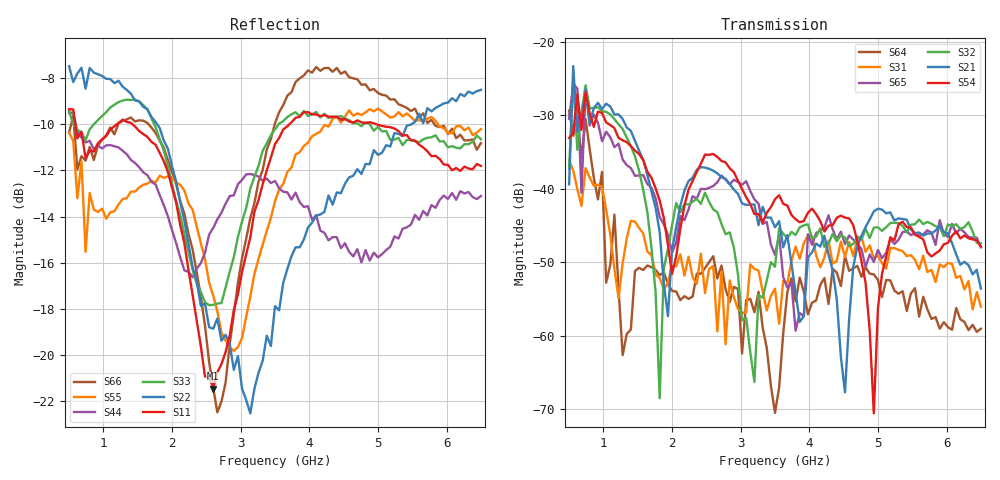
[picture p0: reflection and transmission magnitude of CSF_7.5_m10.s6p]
!Keysight Technologies,M9804A,MY58100912,A.14.10.03
!Date: Thursday, April 27, 2023 10:28:33
!Correction: S11(C  6-Port  )
!S12(C  6-Port  )
!S13(C  6-Port  )
!S14(C  6-Port  )
!S15(C  6-Port  )
!S16(C  6-Port  )
!S21(C  6-Port  )
!S22(C  6-Port  )
!S23(C  6-Port  )
!S24(C  6-Port  )
!S25(C  6-Port  )
!S26(C  6-Port  )
!S31(C  6-Port  )
!S32(C  6-Port  )
!S33(C  6-Port  )
!S34(C  6-Port  )
!S35(C  6-Port  )
!S36(C  6-Port  )
!S41(C  6-Port  )
!S42(C  6-Port  )
!S43(C  6-Port  )
!S44(C  6-Port  )
!S45(C  6-Port  )
!S46(C  6-Port  )
!S51(C  6-Port  )
!S52(C  6-Port  )
!S53(C  6-Port  )
!S54(C  6-Port  )
!S55(C  6-Port  )
!S56(C  6-Port  )
!S61(C  6-Port  )
!S62(C  6-Port  )
!S63(C  6-Port  )
!S64(C  6-Port  )
!S65(C  6-Port  )
!S66(C  6-Port  )
!S6P File: Measurement: :
# Hz S  RI  R 50
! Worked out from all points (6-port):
!   101 points, 500 MHz to 6.5 GHz, reference 50 ohm
!   strongest paths, dB at 500 MHz, 2 GHz, 3.5 GHz, 5 GHz, 6.5 GHz:
!     S54: -33.1, -51.6, -41.4, -56.3, -47.8
!     S21: -39.4, -48.3, -45.2, -42.7, -53.6
!     S32: -37.2, -45.0, -50.6, -45.2, -47.4
!     S65: -30.5, -48.6, -49.0, -48.3, -47.9
!     S31: -36.1, -50.4, -53.6, -49.1, -56.0
!     S64: -29.4, -53.9, -70.5, -52.4, -59.0
!   lowest |S11| = -21.5 dB at 2.6 GHz (marker M1), VSWR 1.18, Z = 42.5 + j2.17 ohm
!   |S11| at or under -10 dB: 590.5 MHz to 1.197 GHz (607 MHz wide, 67.9 % of centre); 1.422 GHz to 3.712 GHz (2.291 GHz wide, 89.2 % of centre); 4.973 GHz to end of sweep
